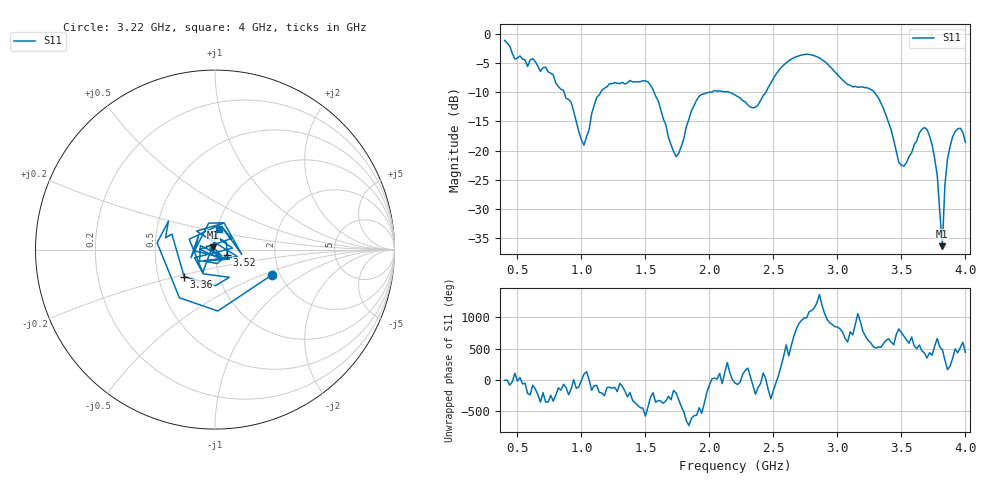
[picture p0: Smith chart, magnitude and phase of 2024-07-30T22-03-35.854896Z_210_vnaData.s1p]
!Created with skrf (http://scikit-rf.org).
# Hz S RI R 50.0
!freq ReS11 ImS11
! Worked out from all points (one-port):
!   181 points, 400 MHz to 4 GHz, reference 50 ohm
!   lowest |S11| = -36.4 dB at 3.82 GHz (marker M1), VSWR 1.03, Z = 49.1 + j1.2 ohm
!   |S11| at or under -10 dB: 1.567 GHz to 2.013 GHz (445.9 MHz wide, 24.9 % of centre); 2.153 GHz to 2.442 GHz (288.4 MHz wide, 12.6 % of centre); 3.288 GHz to end of sweep (the widest 3 of 4)
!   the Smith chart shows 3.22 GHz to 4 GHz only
!   S11 on the Smith chart (normalised r, x): 3.22 GHz: 1.80, -0.58; 3.36 GHz: 0.68, -0.22; 3.52 GHz: 1.14, -0.06; 4 GHz: 1.02, +0.24
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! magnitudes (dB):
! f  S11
! 400 MHz  -1.2
! 480 MHz  -4.3
! 620 MHz  -4.3
! 860 MHz  -9.7
! 1.02 GHz  -19.1
! 1.12 GHz  -10.9
! 1.3 GHz  -8.5
! 1.52 GHz  -8.3
! 1.76 GHz  -20.5
! 1.92 GHz  -10.7
! 2.2 GHz  -10.5
! 2.36 GHz  -12.6
! 2.66 GHz  -4.1
! 2.86 GHz  -4.2
! 3.1 GHz  -8.8
! 3.22 GHz  -9.2
! 3.36 GHz  -12.8
! 3.48 GHz  -22.0
! 3.52 GHz  -22.7
! 3.56 GHz  -21.0
! 3.66 GHz  -16.4
! 3.72 GHz  -17.5
! 3.78 GHz  -24.2
! 3.82 GHz  -36.4
! 3.84 GHz  -25.9
! 3.88 GHz  -19.3
! 3.94 GHz  -16.3
! 4 GHz  -18.6
